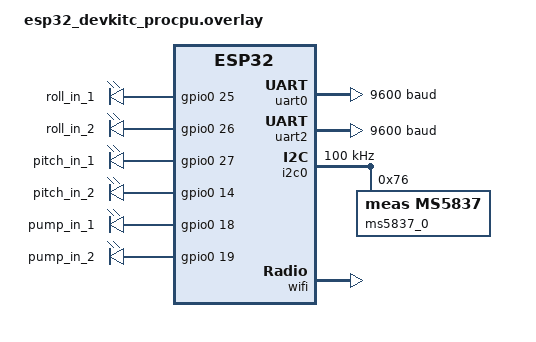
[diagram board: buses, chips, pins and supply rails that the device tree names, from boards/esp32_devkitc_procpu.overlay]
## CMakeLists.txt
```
cmake_minimum_required(VERSION 3.20.0)
find_package(Zephyr REQUIRED HINTS $ENV{ZEPHYR_BASE})
project(tuba)

# Suppress warnings - must come after find_package(Zephyr)
zephyr_compile_options(-Wno-double-promotion -Wno-main)

target_sources(app PRIVATE
  src/app_print.c
  src/app_params.c
  src/main.c
  src/net_console.c
  src/ui_menu.c
  src/hw_motors.c
  src/hw_pump.c
  src/hw_limit_switches.c
  src/hw_ms5837.c
  src/deploy.c
  src/hw_bmp180.c
  src/hw_gps.c
  src/hw_hmc6343.c
  src/ota_simple.c
)

target_include_directories(app PRIVATE include)

# Force-include prototypes for app_printk so all sources see it
target_compile_options(app PRIVATE -include app_print.h)
```

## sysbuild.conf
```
# Build MCUboot alongside the application
SB_CONFIG_BOOTLOADER_MCUBOOT=y
```

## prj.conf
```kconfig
# ===== CONSOLE CONFIGURATION =====
# UART0 console via USB bridge (ESP32 DevKit-C) at 9600 baud
CONFIG_SERIAL=y
CONFIG_CONSOLE=y
CONFIG_PRINTK=y
CONFIG_UART_CONSOLE=y

# ===== WIFI CONFIGURATION (ESP32 with native WiFi support) =====
# WiFi Access Point Mode - creates "Tuba-Glider" network
CONFIG_NETWORKING=y
CONFIG_WIFI=y
CONFIG_WIFI_USAGE_MODE_AP=y
CONFIG_NET_L2_WIFI_MGMT=y
CONFIG_NET_SOCKETS=y
CONFIG_NET_L2_ETHERNET=y
CONFIG_NET_IPV4=y
CONFIG_NET_UDP=y
CONFIG_NET_TCP=y
CONFIG_NET_DHCPV4=y
CONFIG_NET_ARP=y
CONFIG_HEAP_MEM_POOL_SIZE=65536

# WiFi power management - DISABLE to prevent AP mode issues
CONFIG_PM=n

# ===== FIELD DEPLOYMENT INSTRUCTIONS =====
# Connect via serial console:
#   screen /dev/ttyUSB0 9600
#   or minicom -D /dev/ttyUSB0 -b 9600
#
# Default behavior on power-up:
#   - Press ENTER within 60 seconds to enter menu
#   - Menu allows: DEPLOYED, RECOVERY, HWTEST, parameter adjustment
#   - If timeout, glider goes to DEPLOYED state automatically
# =====================================

# Keep quiet & simple
CONFIG_LOG=y
CONFIG_LOG_MODE_MINIMAL=y
CONFIG_SHELL=n
CONFIG_ASSERT=y
CONFIG_STDOUT_CONSOLE=y

# Thread/stack diagnostics
CONFIG_THREAD_NAME=y
CONFIG_STACK_SENTINEL=y

# I2C + sensor framework
CONFIG_I2C=y
CONFIG_I2C_ESP32=y
CONFIG_SENSOR=y
# MS5837: use custom I2C implementation, not Zephyr sensor driver
# CONFIG_MS5837 is disabled to avoid driver linkage without full DTS binding
# CONFIG_MS5837=y

# Enable float formatting for printk/printf
CONFIG_CBPRINTF_FP_SUPPORT=y
CONFIG_MAIN_STACK_SIZE=3072

# Non-volatile storage for parameter persistence
CONFIG_FLASH=y
CONFIG_FLASH_MAP=y
CONFIG_FLASH_PAGE_LAYOUT=y
CONFIG_MPU_ALLOW_FLASH_WRITE=y
CONFIG_CRC=y
CONFIG_NVS=y
CONFIG_SETTINGS=y
CONFIG_SETTINGS_NVS=y

# ===== OVER-THE-AIR (OTA) UPDATE SUPPORT =====
# Socket-based HTTP download with flash writes
CONFIG_FLASH=y
CONFIG_FLASH_MAP=y
CONFIG_NET_SOCKETS=y
CONFIG_NET_TCP=y
CONFIG_HTTP_CLIENT=y

# MCUboot dual-slot OTA
CONFIG_BOOTLOADER_MCUBOOT=y
CONFIG_IMG_MANAGER=y
CONFIG_MCUBOOT_IMG_MANAGER=y
CONFIG_STREAM_FLASH=y
```

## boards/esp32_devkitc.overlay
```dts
/
{
    aliases {
        roll_in1 = &roll_in1;
        roll_in2 = &roll_in2;
        pitch_in1 = &pitch_in1;
        pitch_in2 = &pitch_in2;
        pump_in1 = &pump_in1;
        pump_in2 = &pump_in2;
    };

    /* Motor H-bridge control pins (adjust to your wiring) */
    roll_in1: roll_in1 {
        gpios = <&gpio 25 GPIO_ACTIVE_HIGH>;
    };
    roll_in2: roll_in2 {
        gpios = <&gpio 26 GPIO_ACTIVE_HIGH>;
    };
    pitch_in1: pitch_in1 {
        gpios = <&gpio 27 GPIO_ACTIVE_HIGH>;
    };
    pitch_in2: pitch_in2 {
        gpios = <&gpio 14 GPIO_ACTIVE_HIGH>;
    };

    /* Pump control pins (adjust to your wiring) */
    pump_in1: pump_in1 {
        gpios = <&gpio 33 GPIO_ACTIVE_HIGH>;
    };
    pump_in2: pump_in2 {
        gpios = <&gpio 32 GPIO_ACTIVE_HIGH>;
    };
};
```

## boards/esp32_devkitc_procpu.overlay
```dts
/ {
	chosen {
		zephyr,console = &uart0;
		zephyr,shell-uart = &uart0;
	};

	aliases {
		/* Motors - GPIO control (hyphens in DTS, converted to underscores in C via DT_ALIAS) */
		roll-in-1 = &roll_in_1;
		roll-in-2 = &roll_in_2;
		pitch-in-1 = &pitch_in_1;
		pitch-in-2 = &pitch_in_2;
		pump-in-1 = &pump_in_1;
		pump-in-2 = &pump_in_2;
		i2c0 = &i2c0;
	};
};

/* ===== UART CONFIGURATION ===== */

/* UART0: USB bridge console (TX=GPIO1, RX=GPIO3) - 9600 baud */
&uart0 {
	status = "okay";
	current-speed = <9600>;
};

/* UART1: Avoid using GPIO9/10 (SPI flash pins) */
&uart1 {
	status = "disabled";
};

/* UART2: Use for GPS / mirroring (TX=GPIO17, RX=GPIO16)
   Note: ESP32 UART2 on GPIO17/16 requires runtime GPIO init or boot config.
   Pinctrl overlay doesn't work reliably; using manual serial polling instead.
 */
&uart2 {
	status = "okay";
	current-speed = <9600>;
};

/* ===== I2C CONFIGURATION ===== */
/* I2C0 on GPIO21(SDA)/GPIO22(SCL) for sensors */
&i2c0 {
	status = "okay";
	clock-frequency = <100000>; /* 100kHz */
	ms5837_0: ms5837@76 {
		compatible = "meas,ms5837";
		reg = <0x76>;
		status = "okay";
	};
};

&gpio0 {
	status = "okay";
};

/* Note: I2C0 and UART2 pinctrl on ESP32 requires board-specific dtsi edits.
   Using I2C0 on default ESP32 pins (21/22) and UART2 without pinctrl for now.
 */

/* ===== GPIO Motor Control Pins ===== */

/ {
	motor_gpios: motor-gpios {
		compatible = "gpio-leds";

		roll_in_1: roll-in-1 {
			gpios = <&gpio0 25 GPIO_ACTIVE_HIGH>;
		};
		roll_in_2: roll-in-2 {
			gpios = <&gpio0 26 GPIO_ACTIVE_HIGH>;
		};
		pitch_in_1: pitch-in-1 {
			gpios = <&gpio0 27 GPIO_ACTIVE_HIGH>;
		};
		pitch_in_2: pitch-in-2 {
			gpios = <&gpio0 14 GPIO_ACTIVE_HIGH>;
		};
		pump_in_1: pump-in-1 {
			gpios = <&gpio0 18 GPIO_ACTIVE_HIGH>;
		};
		pump_in_2: pump-in-2 {
			gpios = <&gpio0 19 GPIO_ACTIVE_HIGH>;
		};
	};
};

/* ===== WiFi Configuration ===== */

&wifi {
	status = "okay";
};
```

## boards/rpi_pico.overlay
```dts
/ {
	chosen {
		/* ===== CONSOLE OUTPUT SELECTION ===== */
		
		/* Option 1: USB CDC ACM console (default for Pico/Pico W) */
		 zephyr,console    = &cdc_acm_uart; 
		 zephyr,shell-uart = &cdc_acm_uart;
		
		/* Option 2: UART0 console via MAX3232 (uncomment to use) */
		/* zephyr,console    = &uart0; */
		/* zephyr,shell-uart = &uart0; */
		
		/* Option 3: WiFi socket console (Pico W only - no devicetree change needed) */
		/* Just enable CONFIG_WIFI_CYWIP in prj.conf, no console entry needed */
		
		/* ===================================== */
		 
		/* NVS storage partition */
		zephyr,settings-partition = &storage_partition;
	};	aliases {
		/* Motors */
		roll-in1 = &roll_in1;
		roll-in2 = &roll_in2;
		pitch-in1 = &pitch_in1;
		pitch-in2 = &pitch_in2;
		/* Pump */
		pump-in1 = &pump_in1;
		pump-in2 = &pump_in2;


	};
};

/* ===== CONSOLE CONFIGURATION ===== */
/* Option 1: UART0 via MAX3232 (GP0/GP1) */
/*
&uart0 {
	status = "okay";
	current-speed = <9600>;
};
*/

/* Option 2: USB CDC ACM (uncomment when using USB console) */

&zephyr_udc0 {
	cdc_acm_uart: cdc_acm_uart {
		compatible = "zephyr,cdc-acm-uart";
	};
};

/* ================================= */





&pinctrl {
    i2c0_default: i2c0_default {
        group1 {
            /* I2C0 on RP2040: GP4 = SDA0, GP5 = SCL0 */
            pinmux = <I2C0_SDA_P4>, <I2C0_SCL_P5>;
            input-enable;
            bias-pull-up;
        };
    };
    i2c0_sleep: i2c0_sleep {
        group1 {
            pinmux = <I2C0_SDA_P4>, <I2C0_SCL_P5>;
            input-enable;
            bias-pull-up;
        };
    };

    i2c1_default: i2c1_default {
        group1 {
            /* I2C1 on RP2040: GP2 = SDA1, GP3 = SCL1 */
            pinmux = <I2C1_SDA_P2>, <I2C1_SCL_P3>;
            input-enable;
            bias-pull-up;
        };
    };
    i2c1_sleep: i2c1_sleep {
        group1 {
            pinmux = <I2C1_SDA_P2>, <I2C1_SCL_P3>;
            input-enable;
            bias-pull-up;
        };
    };
};

&i2c1 {
    status = "okay";
    clock-frequency = <I2C_BITRATE_STANDARD>;
    /* attach the pinctrl groups */
    pinctrl-0 = <&i2c1_default>;
    pinctrl-1 = <&i2c1_sleep>;
    pinctrl-names = "default", "sleep";

    
};

/* GPIO-backed pins for motors & pump (H-bridge inputs) */
&gpio0 {
	status = "okay";
};

&{/} {
	vma409_pins: gpio-leds {
		compatible = "gpio-leds";

		/* ----- ROLL (Motor A) ----- */
		roll_in1: roll_in1 { gpios = <&gpio0 20  GPIO_ACTIVE_HIGH>; label = "roll_in1"; };
		roll_in2: roll_in2 { gpios = <&gpio0 21  GPIO_ACTIVE_HIGH>; label = "roll_in2"; };/* 
		

		/* ----- PITCH (Motor B) ----- */
		pitch_in1: pitch_in1 { gpios = <&gpio0 18  GPIO_ACTIVE_HIGH>;  label = "pitch_in1"; };
		pitch_in2: pitch_in2 { gpios = <&gpio0 19 GPIO_ACTIVE_HIGH>;  label = "pitch_in2"; };/* 
		

		/* ----- PUMP (ZK-BM1 inputs) ----- */
		pump_in1: pump_in1 { gpios = <&gpio0 26 GPIO_ACTIVE_HIGH>; label = "pump_in1"; };
		pump_in2: pump_in2 { gpios = <&gpio0 27 GPIO_ACTIVE_HIGH>; label = "pump_in2"; };
	};
};


&pinctrl {
    i2c0_default: i2c0_default {
        group1 {
            /* I2C0 on RP2040: GP4 = SDA0, GP5 = SCL0 */
            pinmux = <I2C0_SDA_P4>, <I2C0_SCL_P5>;
            input-enable;
            bias-pull-up;
        };
    };
    i2c0_sleep: i2c0_sleep {
        group1 {
            pinmux = <I2C0_SDA_P4>, <I2C0_SCL_P5>;
            input-enable;
            bias-pull-up;
        };
    };

    i2c1_default: i2c1_default {
        group1 {
            /* I2C1 on RP2040: GP2 = SDA1, GP3 = SCL1 */
            pinmux = <I2C1_SDA_P2>, <I2C1_SCL_P3>;
            input-enable;
            bias-pull-up;
        };
    };
    i2c1_sleep: i2c1_sleep {
        group1 {
            pinmux = <I2C1_SDA_P2>, <I2C1_SCL_P3>;
            input-enable;
            bias-pull-up;
        };
    };
};

&i2c0 {
    status = "okay";
    clock-frequency = <I2C_BITRATE_STANDARD>;
    pinctrl-0 = <&i2c0_default>;
    pinctrl-1 = <&i2c0_sleep>;
    pinctrl-names = "default", "sleep";
    
    ms5837: ms5837@76 {
        compatible = "meas,ms5837-30ba";
        reg = <0x76>;
        status = "okay";
    };
};




&uart1 {
    status = "okay";
    current-speed = <9600>;
    pinctrl-0 = <&uart1_default>;
    pinctrl-names = "default";
};

&pinctrl {


    /* Configuration for uart1 "default" state */
    uart1_default: uart1_default {
        group1 {
            pinmux = <UART1_TX_P8>;
        };
        group2 {
            pinmux = <UART1_RX_P9>;
            input-enable;
        };
    };
};


&flash0 {
    partitions {
        compatible = "fixed-partitions";
        #address-cells = <1>;
        #size-cells = <1>;

        /* Boot stage2 at 0x10000000 - 0x10000100 (256 bytes, RP2040 bootloader) */
        /* Application code starts after boot_stage2 */
        
        /* Code partition: reserve 1920KB for application (0x00000000 - 0x001E0000) */
        slot0_partition: partition@0 {
            label = "image-0";
            reg = <0x00000000 0x001E0000>;
        };

        /* Storage partition: 64KB right after code (0x001E0000 - 0x001F0000) */
        /* This should be preserved if you flash only the UF2 to slot0 */
        storage_partition: partition@1e0000 {
            label = "storage";
            reg = <0x001E0000 0x00010000>;
        };
        
        /* Remaining 64KB can be used for other purposes if needed */
    };
};
```

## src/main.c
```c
#include <zephyr/kernel.h>
#include "net_console.h"
#include <zephyr/sys/printk.h>
#include <zephyr/sys/reboot.h>
#include <zephyr/drivers/uart.h>
#include <zephyr/drivers/i2c.h>
#include <zephyr/usb/usb_device.h>
#include <zephyr/settings/settings.h>
#include <string.h>
#include <stdbool.h>
#include <stdint.h>

/* WiFi AP console (ESP32 DevKitC) */
#ifdef CONFIG_WIFI
#include <zephyr/net/net_if.h>
#include <zephyr/net/net_mgmt.h>
#include <zephyr/net/wifi_mgmt.h>
#include <zephyr/net/socket.h>
#include <zephyr/net/dhcpv4_server.h>
#include <arpa/inet.h>
#include <unistd.h>
#endif

#include "app_events.h"
#include "app_limits.h"
#include "ui_menu.h"
#include "hw_motors.h"
#include "hw_pump.h"
#include "hw_limit_switches.h"
#include "app_params.h"
#include "ota_simple.h"
#include "build_info.h"
#include "version.h"

/* Console UART - using _OR_NULL to avoid crash if not available */
static const struct device *const uart_console = DEVICE_DT_GET_OR_NULL(DT_CHOSEN(zephyr_console));



/* ---- I2C bus scan helpers ---- */
#if defined(CONFIG_I2C)

/* Resolve nodes for i2c0 and i2c1 (either by nodelabel or alias) */
#if DT_NODE_HAS_STATUS(DT_NODELABEL(i2c0), okay)
#define I2C0_NODE DT_NODELABEL(i2c0)
#elif DT_NODE_HAS_STATUS(DT_ALIAS(i2c0), okay)
#define I2C0_NODE DT_ALIAS(i2c0)
#endif

#if DT_NODE_HAS_STATUS(DT_NODELABEL(i2c1), okay)
#define I2C1_NODE DT_NODELABEL(i2c1)
#elif DT_NODE_HAS_STATUS(DT_ALIAS(i2c1), okay)
#define I2C1_NODE DT_ALIAS(i2c1)
#endif

/* Probe helper: try a 1-byte read using the message API; if not available, fall back to i2c_read().
 * We only care about whether the address ACKs. */


static int i2c_addr_probe(const struct device *bus, uint16_t addr)
{
    /* Try a 0-byte write followed by a 1-byte read. Many controllers treat this as an address probe.
     * If the controller rejects 0-byte writes, this may return -EINVAL/-ENOTSUP; we'll treat that as NACK. */
    uint8_t byte = 0;
    int ret = i2c_write_read(bus, addr, NULL, 0, &byte, 1);
    return ret;
}

static void scan_one_bus(const struct device *bus, const char *name)
{
    if (!bus) {
        app_printk("%s: not present in DT\r\n", name);
        return;
    }
    if (!device_is_ready(bus)) {
        app_printk("%s: device not ready\r\n", name);
        return;
    }
    app_printk("%s: scanning...\r\n", name);
    int found = 0;
    for (uint16_t addr = 0x03; addr <= 0x77; ++addr) {
        int ret = i2c_addr_probe(bus, addr);
        if (ret == 0) {
            app_printk("  - 0x%02x\r\n", addr);
            ++found;
        }
        k_busy_wait(50);
    }
    if (!found) {
        app_printk("%s: no devices found\r\n", name);
    }
}

static void scan_i2c_buses(void)
{
#ifdef I2C0_NODE
    const struct device *i2c0 = DEVICE_DT_GET_OR_NULL(I2C0_NODE);
#else
    const struct device *i2c0 = NULL;
#endif
#ifdef I2C1_NODE
    const struct device *i2c1 = DEVICE_DT_GET_OR_NULL(I2C1_NODE);
#else
    const struct device *i2c1 = NULL;
#endif

    scan_one_bus(i2c0, "i2c0");
    scan_one_bus(i2c1, "i2c1");
}
#else
static void scan_i2c_buses(void) { /* I2C not enabled */ }
#endif

static inline bool uart_ready(void) { return device_is_ready(uart_console); }
static bool uart_getch(uint8_t *out) {
    if (!uart_ready()) return false;
    return (uart_poll_in(uart_console, (unsigned char *)out) == 0);
}

/* Timers & events */
static void timeout_cb(struct k_timer *tmr); K_TIMER_DEFINE(startup_timeout, timeout_cb, NULL);
static void tick_cb(struct k_timer *tmr);    K_TIMER_DEFINE(ui_tick, tick_cb, NULL);
K_MSGQ_DEFINE(evt_q, sizeof(event_t), 8, 4);

static inline void post_event(event_id_t id) { event_t e = {.id=id}; (void)k_msgq_put(&evt_q,&e,K_NO_WAIT); }
static void timeout_cb(struct k_timer *tmr){ARG_UNUSED(tmr);post_event(EVT_TIMEOUT);}
static void tick_cb(struct k_timer *tmr){ARG_UNUSED(tmr);post_event(EVT_TICK);}

/* Line buffer */
static char line_buf[APP_LINE_MAX];
/* Make WiFi telnet the primary console input by default */
#define USE_WIFI_CONSOLE
static bool read_line_nonblock(char *buf, size_t buflen, bool *enter_only) {
    *enter_only = false;
#ifdef USE_WIFI_CONSOLE
    /* WiFi console: poll for a line from net console */
    char line_tmp[128];
    if (net_console_poll_line(line_tmp, sizeof(line_tmp), K_NO_WAIT)) {
        size_t n = strnlen(line_tmp, sizeof(line_tmp));
        if (n == 0) {
            *enter_only = true;
            /* Echo newline to UART for consistency */
            printk("\r\n");
            return false;
        }
        if (n >= buflen) n = buflen-1;
        memcpy(buf, line_tmp, n);
        buf[n] = '\0';
        /* Echo line to UART console too */
        printk("%s\r\n", buf);
        return true;
    }
    return false;
#else
    /* UART console: nonblocking reader */
    static size_t idx = 0;
    uint8_t ch;
    while (uart_getch(&ch)) {
        if (ch=='\r'||ch=='\n') {
            if (idx > 0) {
                printk("\r\n");
                buf[idx]='\0';
                idx=0;
                return true;
            } else {
                printk("\r\n");
                *enter_only = true;
                return false;
            }
        } else if (idx<buflen-1) {
            buf[idx++]=(char)ch;
            printk("%c", ch);
        }
    }
    return false;
#endif
}

/* Current motor (used in PR_INPUT) */
enum motor_id current_motor = MOTOR_ROLL;

/* ------------------- WiFi Console Support (AP Mode) ------------------- */
#ifdef CONFIG_WIFI
#include <zephyr/net/net_if.h>
#include <zephyr/net/net_mgmt.h>
#include <zephyr/net/wifi_mgmt.h>

/* File-scope WiFi event logger */
static void wifi_event_handler(struct net_mgmt_event_callback *cb, uint64_t event, struct net_if *iface)
{
    ARG_UNUSED(cb);
    switch (event) {
    case NET_EVENT_IF_UP:
        app_printk("WiFi: IF UP\r\n");
        break;
    case NET_EVENT_IF_DOWN:
        app_printk("WiFi: IF DOWN\r\n");
        break;
    case NET_EVENT_IPV4_ADDR_ADD:
        app_printk("WiFi: IPv4 address added\r\n");
        break;
    case NET_EVENT_IPV4_ADDR_DEL:
        app_printk("WiFi: IPv4 address removed\r\n");
        break;
    default:
        app_printk("WiFi: net event 0x%08x\r\n", event);
        break;
    }
    ARG_UNUSED(iface);
}

static void wifi_ap_task(void *p1, void *p2, void *p3)
{
    ARG_UNUSED(p1); ARG_UNUSED(p2); ARG_UNUSED(p3);
    
    app_printk("WiFi: Task started\r\n");
    
    /* Give networking subsystem time to start */
    k_sleep(K_SECONDS(2));
    app_printk("WiFi: Waited 2 seconds for networking\r\n");
    
    struct net_if *iface = net_if_get_default();
    if (!iface) {
        app_printk("WiFi: ERROR - No default network interface available\r\n");
        return;
    }
    
    app_printk("WiFi: Default interface obtained\r\n");
    
    /* Try to configure WiFi AP mode using wifi_ap_config */
    app_printk("WiFi: Attempting to enable AP mode...\r\n");

    struct wifi_connect_req_params ap_cfg = {
        .ssid = (uint8_t *)"Tuba-Glider",
        .ssid_length = 11,
        .channel = 6,
        .security = WIFI_SECURITY_TYPE_NONE,
    };

    int status = net_mgmt(NET_REQUEST_WIFI_AP_ENABLE, iface, 
                          &ap_cfg, sizeof(ap_cfg));
    
    app_printk("WiFi: AP enable returned status: %d\r\n", status);
    
    if (status != 0) {
        app_printk("WiFi: ERROR - AP enable failed with code %d\r\n", status);
        return;
    }
    
    app_printk("WiFi: AP enabled successfully\r\n");
    
    /* Check interface status */
    bool is_up = net_if_is_up(iface);
    app_printk("WiFi: Interface is %s\r\n", is_up ? "UP" : "DOWN");
    
    /* Get interface index and info */
    int if_index = net_if_get_by_iface(iface);
    app_printk("WiFi: Interface index: %d\r\n", if_index);
    
    /* Bring interface up if needed */
    if (!is_up) {
        app_printk("WiFi: Bringing interface up...\r\n");
        net_if_up(iface);
        k_sleep(K_MSEC(100));
        is_up = net_if_is_up(iface);
        app_printk("WiFi: After net_if_up, interface is %s\r\n", is_up ? "UP" : "DOWN");
    }
    
    app_printk("WiFi: AP 'Tuba-Glider' is broadcasting on channel 6\r\n");
    
    /* Set static IP address manually (idempotent) */
    struct in_addr addr;
    addr.s_addr = htonl(0xc0a80401);  /* 192.168.4.1 */
    
    app_printk("WiFi: Setting IP address to 192.168.4.1...\r\n");
    struct net_if *tmp_iface = NULL;
    struct net_if_addr *ifa_lookup = net_if_ipv4_addr_lookup(&addr, &tmp_iface);
    if (!ifa_lookup) {
        struct net_if_addr *ifa = net_if_ipv4_addr_add(iface, &addr, NET_ADDR_MANUAL, 0);
        app_printk("WiFi: net_if_ipv4_addr_add %s\r\n", ifa ? "OK" : "ERR");
    } else {
        app_printk("WiFi: IPv4 address already present\r\n");
    }
    
    /* Set netmask (255.255.255.0) */
    struct in_addr netmask;
    netmask.s_addr = htonl(0xffffff00);
    net_if_ipv4_set_netmask(iface, &netmask);
    app_printk("WiFi: Netmask set to 255.255.255.0\r\n");
    
    /* Simple check: print interface name and L2 type */
    app_printk("WiFi: Interface name: %s\r\n", net_if_get_device(iface)->name);
    
    app_printk("WiFi: Setup complete, awaiting connections on 192.168.4.1\r\n");

    /* Register net_mgmt event logging for interface/IP changes */
    static struct net_mgmt_event_callback wifi_cb;
    uint64_t mask = NET_EVENT_IF_UP | NET_EVENT_IF_DOWN |
                    NET_EVENT_IPV4_ADDR_ADD | NET_EVENT_IPV4_ADDR_DEL;
    net_mgmt_init_event_callback(&wifi_cb, wifi_event_handler, mask);
    net_mgmt_add_event_callback(&wifi_cb);
    
    /* Try to bind a UDP socket to verify network stack */
    app_printk("WiFi: Testing network stack with UDP socket...\r\n");
    int sock = zsock_socket(AF_INET, SOCK_DGRAM, IPPROTO_UDP);
    if (sock < 0) {
        app_printk("WiFi: ERROR - zsock_socket() failed with error %d\r\n", -sock);
    } else {
        app_printk("WiFi: Socket created successfully (fd=%d)\r\n", sock);
        
        struct sockaddr_in addr;
        addr.sin_family = AF_INET;
        addr.sin_port = htons(9000);
        addr.sin_addr.s_addr = htonl(0xc0a80401);  /* 192.168.4.1 */
        
        int ret = zsock_bind(sock, (struct sockaddr *)&addr, sizeof(addr));
        app_printk("WiFi: zsock_bind() returned: %d\r\n", ret);
        
        if (ret == 0) {
            app_printk("WiFi: SUCCESS - UDP socket bound to 192.168.4.1:9000\r\n");
        } else {
            app_printk("WiFi: ERROR - zsock_bind() failed with error %d\r\n", ret);
        }
        
        zsock_close(sock);
    }
    
    /* WiFi watchdog: periodically ensure interface/AP/IP stays up */
    int down_count = 0;
    bool ap_enabled_flag = (status == 0);
    while (1) {
        k_sleep(K_SECONDS(5));
        if (!net_if_is_up(iface)) {
            down_count++;
            app_printk("WiFi: watchdog - IF DOWN (count=%d)\r\n", down_count);
            net_if_up(iface);
            k_sleep(K_MSEC(200));
            if (!net_if_is_up(iface)) {
                /* Re-enable AP mode */
                struct wifi_connect_req_params ap_re = {
                    .ssid = (uint8_t *)"Tuba-Glider",
                    .ssid_length = 11,
                    .channel = 6,
                    .security = WIFI_SECURITY_TYPE_NONE,
                };
                int rs = net_mgmt(NET_REQUEST_WIFI_AP_ENABLE, iface,
                                  &ap_re, sizeof(ap_re));
                app_printk("WiFi: watchdog - AP enable retry status: %d\r\n", rs);
                ap_enabled_flag = (rs == 0);
            }
            /* Ensure IPv4 address/netmask configured */
            struct in_addr waddr; waddr.s_addr = htonl(0xc0a80401);
            struct net_if *tmp2 = NULL;
            if (!net_if_ipv4_addr_lookup(&waddr, &tmp2)) {
                (void)net_if_ipv4_addr_add(iface, &waddr, NET_ADDR_MANUAL, 0);
            }
            struct in_addr wmask; wmask.s_addr = htonl(0xffffff00);
            net_if_ipv4_set_netmask(iface, &wmask);
        } else {
            down_count = 0;
        }
    }
}

K_THREAD_DEFINE(wifi_ap, 4096, wifi_ap_task, NULL, NULL, NULL, 5, 0, 0);
#endif

#ifdef CONFIG_WIFI
#include "net_console.h"
/* Simple TCP echo server for connectivity testing (telnet 192.168.4.1 23) */
static void tcp_echo_server_task(void *p1, void *p2, void *p3)
{
    ARG_UNUSED(p1); ARG_UNUSED(p2); ARG_UNUSED(p3);

    /* Small delay to allow AP/IP to settle */
    k_sleep(K_SECONDS(3));

    int srv = zsock_socket(AF_INET, SOCK_STREAM, IPPROTO_TCP);
    if (srv < 0) {
        app_printk("TCP: ERROR socket()=%d\r\n", srv);
        return;
    }

    struct sockaddr_in addr;
    addr.sin_family = AF_INET;
    addr.sin_port = htons(23);
    /* Bind to any local address to avoid failures before IPv4 is set */
    addr.sin_addr.s_addr = htonl(INADDR_ANY);

    int opt = 1;
    (void)zsock_setsockopt(srv, SOL_SOCKET, SO_REUSEADDR, &opt, sizeof(opt));

    if (zsock_bind(srv, (struct sockaddr *)&addr, sizeof(addr)) != 0) {
        app_printk("TCP: bind failed\r\n");
        /* Retry later in case IP was not ready yet */
        zsock_close(srv);
        k_sleep(K_SECONDS(2));
        srv = zsock_socket(AF_INET, SOCK_STREAM, IPPROTO_TCP);
        if (srv < 0) {
            app_printk("TCP: ERROR socket()=%d\r\n", srv);
            return;
        }
        (void)zsock_setsockopt(srv, SOL_SOCKET, SO_REUSEADDR, &opt, sizeof(opt));
        if (zsock_bind(srv, (struct sockaddr *)&addr, sizeof(addr)) != 0) {
            app_printk("TCP: bind failed again\r\n");
            zsock_close(srv);
            return;
        }
    }
    if (zsock_listen(srv, 1) != 0) {
        app_printk("TCP: listen failed\r\n");
        zsock_close(srv);
        return;
    }
    app_printk("TCP: Listening on 0.0.0.0:23 (telnet)\r\n");

    while (1) {
        struct sockaddr_in cli;
        socklen_t clilen = sizeof(cli);
        int fd = zsock_accept(srv, (struct sockaddr *)&cli, &clilen);
        if (fd < 0) {
            k_sleep(K_MSEC(200));
            continue;
        }
        app_printk("TCP: Client connected\r\n");
        /* Enable TCP keepalive for robustness */
        int ka = 1; (void)zsock_setsockopt(fd, SOL_SOCKET, SO_KEEPALIVE, &ka, sizeof(ka));
        net_console_add(fd);

        /* Send a banner so the client sees immediate output */
        const char *banner =
            "\r\nTuba-Glider WiFi console (echo test)\r\n"
            "Type and press ENTER — your input will echo.\r\n"
            "Note: Serial UART is the primary console; this TCP port is a simple echo.\r\n\r\n";
        {
            int sret = zsock_send(fd, banner, strlen(banner), 0);
            if (sret < 0) {
                app_printk("TCP: send banner failed (%d)\r\n", sret);
                zsock_close(fd);
                net_console_remove(fd);
                continue;
            }
        }

        char buf[128];
        while (1) {
            int n = zsock_recv(fd, buf, sizeof(buf), 0);
            if (n <= 0) break;
            /* Normalize line endings to CRLF for telnet clients */
            for (int i = 0; i < n; i++) {
                if (buf[i] == '\n') buf[i] = '\r';
            }
            int sret = zsock_send(fd, buf, n, 0);
            if (sret < 0) {
                app_printk("TCP: send failed (%d)\r\n", sret);
                break;
            }
            /* Feed incoming bytes into net-console input aggregator */
            extern void net_console_ingest_bytes(const char *buf, size_t len);
            net_console_ingest_bytes(buf, n);
        }
        zsock_close(fd);
        net_console_remove(fd);
        app_printk("TCP: Client disconnected\r\n");
    }
}

/* Increase stack to avoid overflow during socket I/O and formatting */
K_THREAD_DEFINE(tcp_echo, 4096, tcp_echo_server_task, NULL, NULL, NULL, 6, 0, 0);
#endif

/* ------------------- Main loop ------------------- */
void main(void) {
    /* Boot banner */
    printk("=== ESP32 Boot ===\r\n");
    k_sleep(K_MSEC(50));

    /* Init settings (NVS) and app params */
    int r = settings_subsys_init();
    printk("Settings init: %d\r\n", r);
    (void)app_params_init();
    app_printk("Params: initialized and loaded\r\n");

#if defined(CONFIG_I2C)
    app_printk("I2C: scanning buses...\r\n");
    scan_i2c_buses();
#endif

    /* Init motors & pump */
    printk("Initializing pump...\r\n");
    (void)pump_init();
    printk("Pump initialized\r\n");
    printk("Initializing motors...\r\n");
    (void)motors_init();
    printk("Motors initialized\r\n");
    printk("Initializing limit switches...\r\n");
    (void)limit_switches_init();
    printk("Limit switches initialized\r\n");

    /* Init OTA subsystem */
    printk("Initializing OTA subsystem...\r\n");
    (void)ota_simple_init();
    printk("OTA subsystem initialized\r\n");

    printk("Main loop starting...\r\n");
    k_sleep(K_MSEC(100));

    /* Start timers */
    /* Match startup timeout to STARTUP_TIMEOUT_SEC (10 min now) */
    k_timer_start(&startup_timeout, K_SECONDS(STARTUP_TIMEOUT_SEC), K_NO_WAIT);
    k_timer_start(&ui_tick, K_MSEC(50), K_MSEC(50));

    /* Initialize state machine to POWERUP_WAIT */
    state_id_t state = ST_POWERUP_WAIT;
    on_entry_POWERUP_WAIT();

    /* Main event loop */
    while (1) {
        /* FIRST: Always try to read input (non-blocking) */
        bool enter_only = false;
        if (read_line_nonblock(line_buf, sizeof(line_buf), &enter_only)) {
            /* User entered text + ENTER */
            state_id_t new_state = ui_handle_line(state, line_buf);
            if (new_state != ST__COUNT && new_state != state) {
                if (state == ST_POWERUP_WAIT) on_exit_POWERUP_WAIT();
                state = new_state;
                
                switch (state) {
                    case ST_POWERUP_WAIT:
                        on_entry_POWERUP_WAIT();
                        break;
                    case ST_MENU:
                        on_entry_MENU();
                        break;
                    case ST_HWTEST_MENU:
                        on_entry_HWTEST_MENU();
                        break;
                    case ST_PARAMS_MENU:
                        on_entry_PARAMS_MENU();
                        break;
                    case ST_PR_MENU:
                        on_entry_PR_MENU();
                        break;
                    case ST_RECOVERY:
                        on_entry_RECOVERY();
                        break;
                    case ST_DEPLOYED:
                        on_entry_DEPLOYED();
                        break;
                    case ST_SIMULATE:
                        on_entry_SIMULATE();
                        break;
                    case ST_COMPASS_MENU:
                        on_entry_COMPASS_MENU();
                        break;
                    default:
                        break;
                }
            }
        } else if (enter_only) {
            /* User pressed just ENTER - post EVT_ENTER event */
            post_event(EVT_ENTER);
        }
        
        /* SECOND: Check for queued events with very short timeout */
        event_t event;
        int ret = k_msgq_get(&evt_q, &event, K_MSEC(10));
        
        if (ret == 0) {
            /* Process event based on current state */
            state_id_t new_state = ST__COUNT;
            
            switch (state) {
                case ST_POWERUP_WAIT:
                    new_state = on_event_POWERUP_WAIT(&event);
                    break;
                case ST_MENU:
                    new_state = on_event_MENU(&event);
                    break;
                case ST_HWTEST_MENU:
                    new_state = on_event_HWTEST_MENU(&event);
                    break;
                case ST_PARAMS_MENU:
                    new_state = on_event_PARAMS_MENU(&event);
                    break;
                case ST_PARAM_INPUT:
                    new_state = on_event_PARAM_INPUT(&event);
                    break;
                case ST_PR_MENU:
                    new_state = on_event_PR_MENU(&event);
                    break;
                case ST_PR_INPUT:
                    new_state = on_event_PR_INPUT(&event);
                    break;
                case ST_PUMP_INPUT:
                    new_state = on_event_PUMP_INPUT(&event);
                    break;
                case ST_RECOVERY:
                    new_state = on_event_RECOVERY(&event);
                    break;
                case ST_DEPLOYED:
                    new_state = on_event_DEPLOYED(&event);
                    break;
                case ST_SIMULATE:
                    new_state = on_event_SIMULATE(&event);
                    break;
                case ST_COMPASS_MENU:
                    /* COMPASS_MENU not yet implemented; stay in current state */
                    new_state = state;
                    break;
                default:
                    break;
            }
            
            /* SAFETY: Check and handle any triggered limit switches (motor stop) */
            limit_switches_check_and_stop();
            
            /* Transition to new state if needed */
            if (new_state != ST__COUNT && new_state != state) {
                if (state == ST_POWERUP_WAIT) on_exit_POWERUP_WAIT();
                
                state = new_state;
                
                switch (state) {
                    case ST_POWERUP_WAIT:
                        on_entry_POWERUP_WAIT();
                        break;
                    case ST_MENU:
                        on_entry_MENU();
                        break;
                    case ST_HWTEST_MENU:
                        on_entry_HWTEST_MENU();
                        break;
                    case ST_PARAMS_MENU:
                        on_entry_PARAMS_MENU();
                        break;
                    case ST_PR_MENU:
                        on_entry_PR_MENU();
                        break;
                    case ST_RECOVERY:
                        on_entry_RECOVERY();
                        break;
                    case ST_DEPLOYED:
                        on_entry_DEPLOYED();
                        break;
                    case ST_COMPASS_MENU:
                        on_entry_COMPASS_MENU();
                        break;
                    default:
                        break;
                }
            }
        }
    }
}
```

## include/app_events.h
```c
#ifndef APP_EVENTS_H
#define APP_EVENTS_H

#include <zephyr/kernel.h>

/* State IDs */
typedef enum {
    ST_POWERUP_WAIT = 0,
    ST_MENU,
    ST_HWTEST_MENU,
    ST_PARAMS_MENU,
    ST_PARAM_INPUT,
    ST_PR_MENU,
    ST_PR_INPUT,
    ST_PUMP_INPUT,
    ST_LIMIT_TEST,
    ST_RECOVERY,
    ST_DEPLOYED,
    ST_SIMULATE,
    ST_COMPASS_MENU,
    ST_OTA_MENU,
    ST__COUNT
} state_id_t;

/* Event IDs */
typedef enum {
    EVT_NONE = 0,
    EVT_TICK,
    EVT_TIMEOUT,
    EVT_ENTER,
    EVT_MENU_SELECT_1,
    EVT_MENU_SELECT_2,
    EVT_MENU_SELECT_3,
    EVT_CMD_RESUME,
} event_id_t;

typedef struct {
    event_id_t id;
} event_t;

#endif /* APP_EVENTS_H */
```

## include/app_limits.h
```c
#ifndef APP_LIMITS_H
#define APP_LIMITS_H

#define STARTUP_TIMEOUT_SEC   600
#define UI_TICK_HZ            1

/* Avoid clashing with libc's LINE_MAX */
#define APP_LINE_MAX          48

/* Input guard for test durations */
#define TEST_MIN_SEC   (-10)
#define TEST_MAX_SEC   (10)

#endif /* APP_LIMITS_H */
```

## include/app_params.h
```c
#ifndef APP_PARAMS_H
#define APP_PARAMS_H

#include <stdint.h>

/* Application parameters stored in non-volatile memory. */
struct app_params {
    float   dive_depth_m;          /* meters */
    uint16_t dive_timeout_min;     /* minutes */
    uint16_t dive_pump_s;          /* seconds */
    uint16_t deploy_wait_s;        /* seconds to wait on surface before diving */
    uint16_t start_pump_s;         /* seconds */
    uint16_t climb_pump_s;         /* seconds */

    uint16_t start_pitch_s;        /* seconds */
    uint16_t surface_pitch_s;      /* seconds */
    uint16_t dive_pitch_s;         /* seconds */
    uint16_t climb_pitch_s;        /* seconds */

    uint16_t start_roll_s;         /* seconds */
    uint16_t max_roll_s;           /* seconds */
    uint16_t roll_time_s;          /* seconds */

    int16_t  desired_heading_deg;  /* degrees 0-359 */
};

int app_params_init(void);
int app_params_save(void);
void app_params_reset_defaults(void);

/* Access current parameters; pointer is valid for the lifetime of the app. */
struct app_params *app_params_get(void);

#endif /* APP_PARAMS_H */
```

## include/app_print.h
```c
#pragma once
#include <stdarg.h>

#ifdef __cplusplus
extern "C" {
#endif

/* Initialize the mirror output (called automatically) */
int app_print_init(void);

/* App-level printing that goes to console (printk) and mirrors to UART1 */
void app_vprintk(const char *fmt, va_list ap);
void app_printk(const char *fmt, ...);

/* Optional helpers */
int app_puts(const char *s);
int app_putchar(int c);

#ifdef __cplusplus
}
#endif
```

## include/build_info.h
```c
/* Auto-generated build info - do not edit */
#ifndef BUILD_INFO_H
#define BUILD_INFO_H

#define BUILD_DATE "2026-02-26"
#define BUILD_TIME "21:32:51"
#define BUILD_TIMESTAMP 1772137971

#endif /* BUILD_INFO_H */
```

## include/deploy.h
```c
/* deploy.h - deploy sequence API */
#ifndef DEPLOY_H
#define DEPLOY_H
#include <zephyr/kernel.h>
#include <stdbool.h>

void deploy_start(void);
/* Async deploy runner: spawns a worker thread that runs deploy_start() */
void deploy_start_async(void);
/* Simulate deployment: runs entire sequence with simulated external pressure */
void simulate_start(void);
/* Async simulate runner: spawns a worker thread that runs simulate_start() */
void simulate_start_async(void);
/* Check if external pressure sensor is available */
bool deploy_check_sensor_available(void);
/* Check if deploy is currently running */
bool deploy_is_running(void);
/* Check if simulate is currently running */
bool simulate_is_running(void);
#endif
```

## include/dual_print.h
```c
#pragma once
#include <stdarg.h>

/* Initialize dual print (called automatically via SYS_INIT) */
int dual_print_init_hook(void);

/* Duplicate printk to both UART0 and UART1 */
#ifdef __GNUC__
#define ATTR_PRINTF(fmt_idx, arg_idx) __attribute__((format(printf, fmt_idx, arg_idx)))
#else
#define ATTR_PRINTF(fmt_idx, arg_idx)
#endif

void dup_vprintk(const char *fmt, va_list ap);
void dup_printk(const char *fmt, ...) ATTR_PRINTF(1,2);

/* Redirect only printk calls from this application */
#define printk(...) dup_printk(__VA_ARGS__)

/* Optional helpers if you want explicit dual-printf in your code */
int my_printf(const char *fmt, ...);
int my_puts(const char *s);
int my_putchar(int c);
```

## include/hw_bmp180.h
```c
#ifndef HW_BMP180_H
#define HW_BMP180_H

#include <zephyr/kernel.h>

int bmp180_init(void);
/* Blocks: prints 1 Hz readings until user types 'q' on the console */
void bmp180_stream_interactive(void);
/* Read a single compensated pressure sample (Pa) */
int bmp180_read_pa(int32_t *out_pa);

#endif /* HW_BMP180_H */
```

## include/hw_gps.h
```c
#ifndef HW_GPS_H
#define HW_GPS_H
#include <stdbool.h>

/* Interactive GPS fix: blocks while reading the u-blox GPS (I2C/DDC). 
 * Prints 'V' once/sec until a valid fix, then prints:
 *   A <lat_deg> <lon_deg>
 * or exits early if the user presses 'q'.
 */
void gps_fix_interactive(void);

/* Non-interactive GPS fix for deploy/simulate: 
 * Blocks for up to timeout_sec seconds waiting for a valid fix.
 * Returns true if fix acquired, false on timeout.
 */
bool gps_fix_wait(int timeout_sec);

#endif /* HW_GPS_H */
```

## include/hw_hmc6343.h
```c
#ifndef HW_HMC6343_H
#define HW_HMC6343_H
#include <zephyr/kernel.h>
void hmc6343_user_calibrate_interactive(void);
void hmc6343_stream_heading_interactive(void);
/* Non-interactive single-sample read of heading/pitch/roll in degrees. */
int hmc6343_read(float *heading_deg, float *pitch_deg, float *roll_deg);
#endif
```

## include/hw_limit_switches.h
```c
#ifndef HW_LIMIT_SWITCHES_H
#define HW_LIMIT_SWITCHES_H

#include <zephyr/kernel.h>

/* Limit switch IDs */
#define LIMIT_PITCH_UP   0
#define LIMIT_PITCH_DOWN 1

/**
 * Initialize pitch limit switches on GPIO32 and GPIO33.
 * Switches are monitored via GPIO interrupts and trigger motor stop.
 * GPIO32/33 are input-only pins and safe from boot strapping conflicts.
 *
 * @return 0 on success, negative errno on failure
 */
int limit_switches_init(void);

/**
 * Check if a pitch limit switch is currently triggered.
 * Useful for manual polling or diagnostics.
 *
 * @param switch_id LIMIT_PITCH_UP or LIMIT_PITCH_DOWN
 * @return true if switch is pressed (active low), false otherwise
 */
bool limit_switch_is_pressed(int switch_id);

/**
 * Callback invoked when a limit switch is triggered.
 * This stops the pitch motor immediately.
 * (Internal use; set up automatically during init.)
 */
void limit_switch_callback(int switch_id);

/**
 * Check triggered switches and perform motor stop (SAFE FOR MAIN LOOP).
 * This function should be called periodically from the main event loop,
 * NOT from an ISR. It handles the actual motor stop action.
 */
void limit_switches_check_and_stop(void);

/**
 * Interactive test loop for limit switches.
 * Continuously displays GPIO32/33 status and exits when user presses 'q'.
 * Call from menu for real-time testing.
 */
void limit_switches_test_interactive(void);

#endif /* HW_LIMIT_SWITCHES_H */
```

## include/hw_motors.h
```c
#ifndef HW_MOTORS_H
#define HW_MOTORS_H

#include <zephyr/kernel.h>
#include <stdint.h>

enum motor_id {
    MOTOR_ROLL = 0,
    MOTOR_PITCH = 1
};

int motors_init(void);
void motor_run(enum motor_id id, int dir, uint32_t duration_s);


int32_t motor_get_position_sec(enum motor_id id);
void motor_reset_position(enum motor_id id);
void motors_reset_all_positions(void);

#endif /* HW_MOTORS_H */
```
